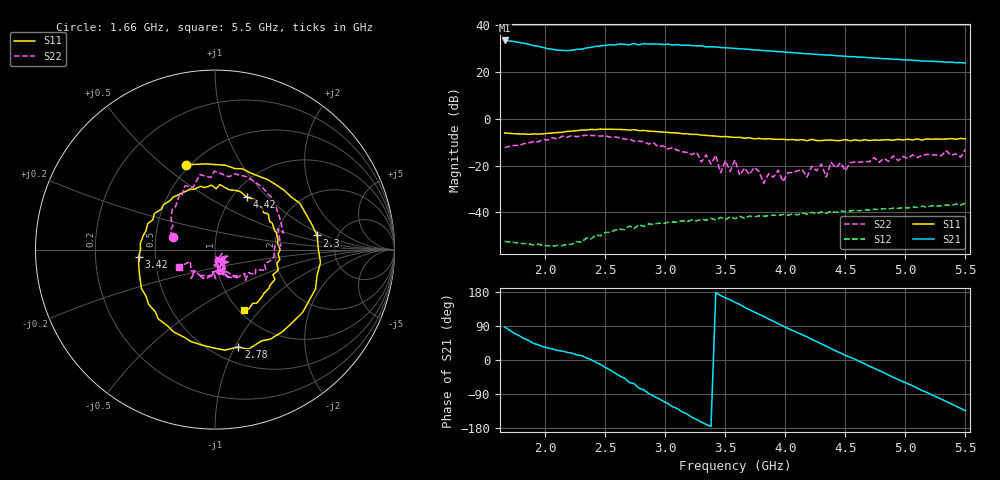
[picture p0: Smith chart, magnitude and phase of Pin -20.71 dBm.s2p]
! RsaToolbox (C) 2015 Rohde & Schwarz America
! Number of points: 96
! Number of ports: 2
! Balanced ports?: No
# Hz S RI R 50
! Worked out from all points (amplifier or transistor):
!   96 points, 1.66 GHz to 5.5 GHz, reference 50 ohm
!   highest |S21| = 33.4 dB at 1.66 GHz (marker M1)
!   |S21| within 3 dB of that: 2.373 GHz to 3.456 GHz (1.083 GHz wide, 37.1 % of centre)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
!   unconditionally stable (mu >= 1): start of sweep to end of sweep
!   at 2.34 GHz: K = 3.22, MAG = 32.6 dB, |S12| = -50.9 dB
!   at 3.62 GHz: K = 1.77, MAG = 30.7 dB, |S12| = -41.6 dB
!   at 5.5 GHz: K = 1.74, MAG = 24.9 dB, |S12| = -36.0 dB
!   S11 on the Smith chart (normalised r, x): 1.66 GHz: 0.48, +0.60; 2.3 GHz: 3.49, +0.82; 2.78 GHz: 0.66, -1.03; 3.42 GHz: 0.40, -0.04; 4.42 GHz: 1.15, +0.77; 5.5 GHz: 1.06, -0.83
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1.66e9  -0.1602 0.4728  2.083 46.88  0.000711 -0.0023  -0.2324 0.0716
1.74e9  -0.0452 0.4775  14.84 41.98  0.000248 -0.00228  -0.2494 0.1045
1.9e9  0.1514 0.4499  26.25 25.19  -0.000383 -0.00199  -0.2387 0.2216
2.1e9  0.3848 0.3315  26.26 12.56  -0.000409 -0.00194  -0.1214 0.3465
2.3e9  0.5691 0.0789  29.93 6.206  -0.000585 -0.00222  0.1075 0.4224
2.42e9  0.5686 -0.1437  35.03 -3.514  -0.00161 -0.0029  0.2634 0.3477
2.54e9  0.488 -0.35  34.19 -17.05  -0.00225 -0.00303  0.3494 0.2071
2.7e9  0.2586 -0.5088  19.16 -32.7  -0.00444 -0.00259  0.3671 0.0191
2.74e9  0.1853 -0.5555  18.72 -35.89  -0.00421 -0.00171  0.3327 0.0203
2.78e9  0.13 -0.5424  9.981 -36.24  -0.00514 -0.00199  0.3289 -0.0376
2.94e9  -0.1312 -0.5135  -7.753 -38.71  -0.00589 0.000387  0.227 -0.1104
3.1e9  -0.3169 -0.3852  -23.7 -30.15  -0.00556 0.00276  0.1652 -0.1333
3.22e9  -0.3844 -0.2585  -31.98 -17.74  -0.0056 0.00411  0.0742 -0.1555
3.42e9  -0.425 -0.0404  -34.12 1.319  -0.00303 0.00618  0.0684 -0.1519
3.58e9  -0.3868 0.0999  -28 14.93  -0.000871 0.00727  0.0201 -0.1316
3.86e9  -0.2356 0.2906  -8.771 26.72  0.00387 0.00757  0.0171 -0.0651
4.22e9  0.0265 0.3623  13.94 19.58  0.00937 0.00372  0.0629 -0.0745
4.42e9  0.1763 0.2936  20.34 8.949  0.00999 -8.11e-06  0.0438 -0.0787
4.66e9  0.2974 0.1977  20.18 -3.495  0.0103 -0.00503  0.0546 -0.1106
4.86e9  0.3521 0.0513  14.62 -12.16  0.00715 -0.00952  -0.0138 -0.1227
5.22e9  0.3061 -0.1995  -0.6118 -16.91  -0.00113 -0.0139  -0.0839 -0.1458
5.5e9  0.1621 -0.3364  -10.66 -11.15  -0.00911 -0.0129  -0.2005 -0.0962
